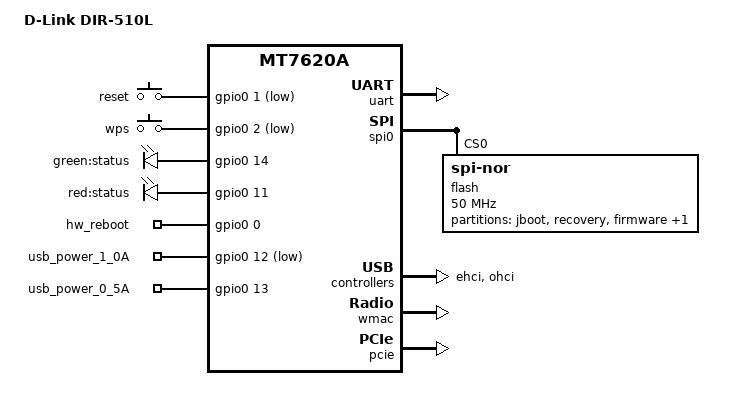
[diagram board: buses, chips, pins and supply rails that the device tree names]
// SPDX-License-Identifier: GPL-2.0-or-later OR MIT

#include "mt7620a.dtsi"

#include <dt-bindings/input/input.h>
#include <dt-bindings/gpio/gpio.h>

/ {
	compatible = "dlink,dir-510l", "ralink,mt7620a-soc";
	model = "D-Link DIR-510L";

	aliases {
		led-boot = &led_status_green;
		led-failsafe = &led_status_red;
		led-running = &led_status_green;
		led-upgrade = &led_status_red;
	};

	chosen {
		bootargs = "console=ttyS1,57600";
	};

	keys {
		compatible = "gpio-keys";

		reset {
			label = "reset";
			gpios = <&gpio0 1 GPIO_ACTIVE_LOW>;
			linux,code = <KEY_RESTART>;
		};

		wps {
			label = "wps";
			gpios = <&gpio0 2 GPIO_ACTIVE_LOW>;
			linux,code = <KEY_WPS_BUTTON>;
		};
	};

	leds {
		compatible = "gpio-leds";

		led_status_green: status_green {
			label = "green:status";
			gpios = <&gpio0 14 GPIO_ACTIVE_HIGH>;
		};

		led_status_red: status_red {
			label = "red:status";
			gpios = <&gpio0 11 GPIO_ACTIVE_HIGH>;
		};
	};

	gpio_export {
		compatible = "gpio-export";
		#size-cells = <0>;

		hw_reboot {
			gpio-export,name = "hw_reboot";
			gpio-export,output = <0>;
			gpios = <&gpio0 0 GPIO_ACTIVE_HIGH>;
		};

		usb_power_1_0A {
			gpio-export,name = "usb_power_1_0A";
			gpio-export,output = <0>;
			gpios = <&gpio0 12 GPIO_ACTIVE_LOW>;
		};

		usb_power_0_5A {
			gpio-export,name = "usb_power_0_5A";
			gpio-export,output = <1>;
			gpios = <&gpio0 13 GPIO_ACTIVE_HIGH>;
		};
	};
};

&ethernet {
	mediatek,portmap = "llllw";
	mtd-mac-address = <&config 0xe490>;
	mtd-mac-address-increment = <(1)>;
};

&uart {
	status = "okay";
};

&gpio0 {
	status = "okay";
};

&gpio1 {
	status = "okay";
};

&gpio2 {
	status = "okay";
};

&gpio3 {
	status = "okay";
};

&spi0 {
	status = "okay";

	flash@0 {
		compatible = "jedec,spi-nor";
		reg = <0>;
		spi-max-frequency = <50000000>;

		partitions {
			compatible = "fixed-partitions";
			#address-cells = <1>;
			#size-cells = <1>;

			partition@0 {
				label = "jboot";
				reg = <0x0 0x10000>;
				read-only;
			};

			partition@10000 {
				label = "recovery";
				reg = <0x10000 0x200000>;
				read-only;
			};

			partition@210000 {
				compatible = "amit,jimage";
				label = "firmware";
				reg = <0x210000 0xde0000>;
			};

			config: partition@ff0000 {
				label = "config";
				reg = <0xff0000 0x10000>;
				read-only;
			};
		};
	};
};

&ehci {
	status = "okay";
};

&ohci {
	status = "okay";
};

&wmac {
	mtd-mac-address = <&config 0xe490>;
	mtd-mac-address-increment = <(1)>;
};

&pcie {
	status = "okay";
};

&pcie0 {
	mt76x0e@0,0 {
		// compatible = "mediatek,mt76";
		reg = <0x0000 0 0 0 0>;
		mtd-mac-address = <&config 0xe490>;
		mtd-mac-address-increment = <(2)>;
		mediatek,mtd-eeprom = <&config 0xe05d>;
		mediatek,2ghz = <0>;
		ieee80211-freq-limit = <5000000 6000000>;
	};
};

&gsw {
	mediatek,port4 = "ephy";
};

&state_default {
	default {
		groups = "i2c", "uartf", "ephy", "wled", "rgmii1", "spi refclk";
		function = "gpio";
	};
};
